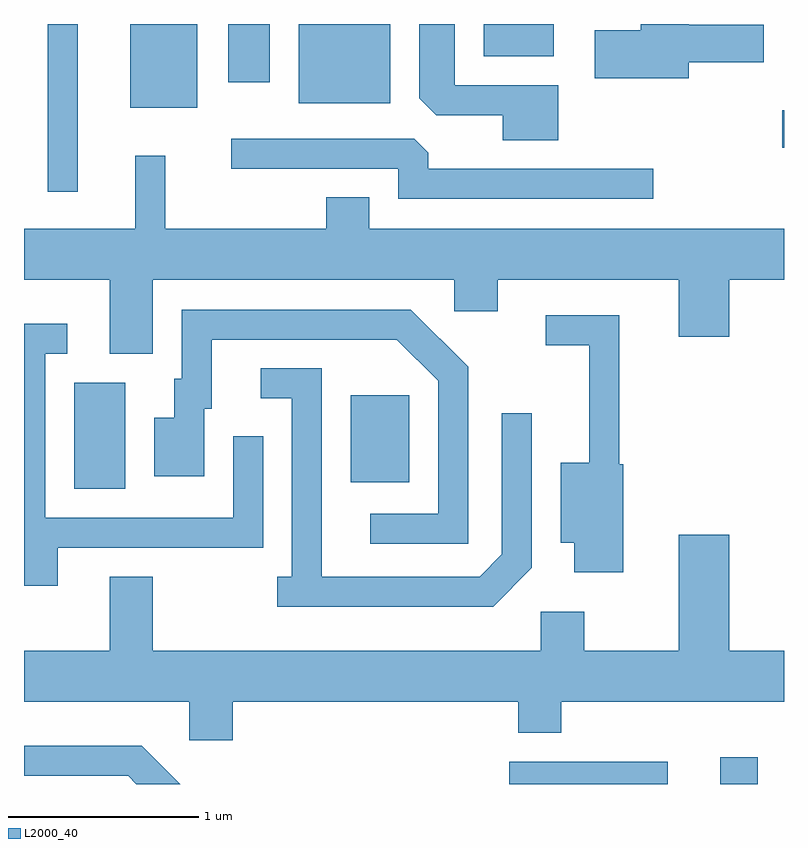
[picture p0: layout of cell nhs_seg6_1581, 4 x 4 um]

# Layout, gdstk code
import gdstk
lib = gdstk.Library(unit=1e-6, precision=1e-09)
def R(c, l, rs):  # rectangles x0, y0, x1, y1
    for r in rs: c.add(gdstk.rectangle(r[:2], r[2:], *l))
def P(c, l, *ps):  # polygons
    for p in ps: c.add(gdstk.Polygon(p, *l))
L2000_40 = (2000, 40)

nhs_seg6_1581 = lib.new_cell('nhs_seg6_1581')
R(nhs_seg6_1581, L2000_40, [(234.166,1656.162,234.998,1656.279), (235.276,1656.162,235.474,1656.304), (231.876,1657.716,232.144,1658.274), (233.331,1657.751,233.639,1658.209), (231.736,1659.278,231.894,1660.162), (235.601,1659.511,235.611,1659.709), (232.171,1659.721,232.524,1660.162), (233.056,1659.746,233.539,1660.162), (232.686,1659.856,232.904,1660.162), (234.031,1659.991,234.399,1660.162)])
P(nhs_seg6_1581, L2000_40, [(235.109,1659.961),(235.504,1659.961),(235.504,1660.159),(235.109,1660.159),(235.109,1660.162),(234.856,1660.162),(234.856,1660.129),(234.616,1660.129),(234.616,1659.876),(235.109,1659.876)],
  [(234.424,1659.839),(233.879,1659.839),(233.879,1660.162),(233.691,1660.162),(233.691,1659.772),(233.782,1659.681),(234.131,1659.681),(234.131,1659.551),(234.424,1659.551)],
  [(234.923,1659.399),(233.739,1659.399),(233.739,1659.484),(233.664,1659.559),(232.703,1659.559),(232.703,1659.401),(233.581,1659.401),(233.581,1659.241),(234.923,1659.241)],
  [(232.289,1658.816),(233.876,1658.816),(233.876,1658.651),(234.104,1658.651),(234.104,1658.816),(235.056,1658.816),(235.056,1658.516),(235.324,1658.516),(235.324,1658.816),(235.611,1658.816),(235.611,1659.084),(233.429,1659.084),(233.429,1659.249),(233.201,1659.249),(233.201,1659.084),(232.354,1659.084),(232.354,1659.468),(232.196,1659.468),(232.196,1659.084),(231.611,1659.084),(231.611,1658.816),(232.061,1658.816),(232.061,1658.426),(232.289,1658.426)],
  [(233.949,1658.357),(233.647,1658.659),(232.441,1658.659),(232.441,1658.294),(232.401,1658.294),(232.401,1658.089),(232.296,1658.089),(232.296,1657.781),(232.559,1657.781),(232.559,1658.136),(232.599,1658.136),(232.599,1658.501),(233.574,1658.501),(233.791,1658.284),(233.791,1657.584),(233.433,1657.584),(233.433,1657.426),(233.949,1657.426)],
  [(234.764,1657.844),(234.744,1657.844),(234.744,1658.629),(234.358,1658.629),(234.358,1658.471),(234.586,1658.471),(234.586,1657.854),(234.436,1657.854),(234.436,1657.431),(234.506,1657.431),(234.506,1657.276),(234.764,1657.276)],
  [(231.789,1657.406),(232.869,1657.406),(232.869,1657.993),(232.711,1657.993),(232.711,1657.564),(231.724,1657.564),(231.724,1658.426),(231.838,1658.426),(231.838,1658.584),(231.611,1658.584),(231.611,1657.206),(231.789,1657.206)],
  [(234.284,1657.299),(234.284,1658.113),(234.126,1658.113),(234.126,1657.372),(234.009,1657.254),(233.179,1657.254),(233.179,1658.349),(232.858,1658.349),(232.858,1658.191),(233.021,1658.191),(233.021,1657.254),(232.943,1657.254),(232.943,1657.096),(234.082,1657.096)],
  [(235.611,1656.864),(235.324,1656.864),(235.324,1657.474),(235.056,1657.474),(235.056,1656.864),(234.559,1656.864),(234.559,1657.069),(234.331,1657.069),(234.331,1656.864),(232.289,1656.864),(232.289,1657.254),(232.061,1657.254),(232.061,1656.864),(231.611,1656.864),(231.611,1656.596),(232.481,1656.596),(232.481,1656.391),(232.709,1656.391),(232.709,1656.596),(234.211,1656.596),(234.211,1656.431),(234.439,1656.431),(234.439,1656.596),(235.611,1656.596)],
  [(232.232,1656.364),(231.611,1656.364),(231.611,1656.206),(232.159,1656.206),(232.203,1656.162),(232.434,1656.162)])

lib.write_gds('nhs_seg6_1581.gds')
